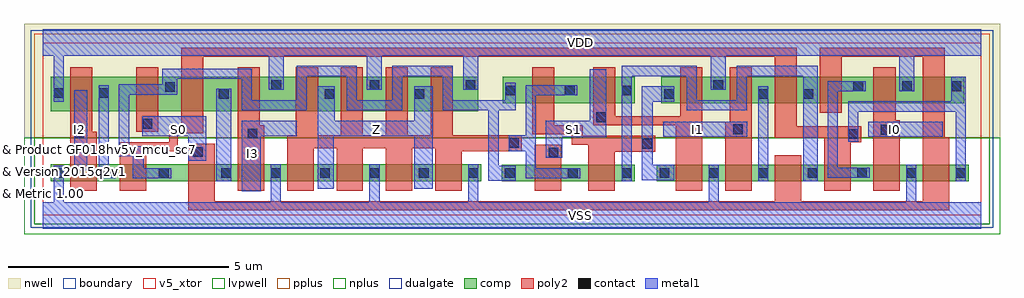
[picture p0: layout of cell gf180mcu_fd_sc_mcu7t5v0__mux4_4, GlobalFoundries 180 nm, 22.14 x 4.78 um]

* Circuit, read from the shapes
.subckt gf180mcu_fd_sc_mcu7t5v0__mux4_4 I0 I1 I2 I3 S0 S1 VDD VSS Z
XM1 n1 I2 VSS VSUBS nfet_05v0 w=0.38u l=0.6u
XM2 n2 n3 n1 VSUBS nfet_05v0 w=0.38u l=0.6u
XM3 n4 S0 n2 VSUBS nfet_05v0 w=0.38u l=0.6u
XM4 VSS I3 n4 VSUBS nfet_05v0 w=0.38u l=0.6u
XM5 Z n5 VSS VSUBS nfet_05v0 w=0.38u l=0.6u m=4
XM6 n5 S1 n2 VSUBS nfet_05v0 w=0.365u l=0.6u
XM7 n6 n7 n5 VSUBS nfet_05v0 w=0.365u l=0.6u
XM8 VSS S1 n7 VSUBS nfet_05v0 w=0.365u l=0.6u
XM9 n8 I1 VSS VSUBS nfet_05v0 w=0.365u l=0.6u
XM10 n6 S0 n8 VSUBS nfet_05v0 w=0.365u l=0.6u
XM11 n9 n3 n6 VSUBS nfet_05v0 w=0.365u l=0.6u
XM12 VSS I0 n9 VSUBS nfet_05v0 w=0.365u l=0.6u
XM13 n3 S0 VSS VSUBS nfet_05v0 w=0.365u l=0.6u
XM14 n1 I2 VDD n10 pfet_05v0 w=0.78u l=0.5u
XM15 n2 S0 n1 n10 pfet_05v0 w=0.78u l=0.5u
XM16 n4 n3 n2 n10 pfet_05v0 w=0.78u l=0.5u
XM17 VDD I3 n4 n10 pfet_05v0 w=0.78u l=0.5u
XM18 Z n5 VDD n10 pfet_05v0 w=0.78u l=0.5u m=4
XM19 n5 n7 n2 n10 pfet_05v0 w=0.595u l=0.5u
XM20 n6 S1 n5 n10 pfet_05v0 w=0.595u l=0.5u
XM21 VDD S1 n7 n10 pfet_05v0 w=0.595u l=0.5u
XM22 n8 I1 VDD n10 pfet_05v0 w=0.595u l=0.5u
XM23 n6 n3 n8 n10 pfet_05v0 w=0.595u l=0.5u
XM24 n9 S0 n6 n10 pfet_05v0 w=0.595u l=0.5u
XM25 VDD I0 n9 n10 pfet_05v0 w=0.595u l=0.5u
XM26 n3 S0 VDD n10 pfet_05v0 w=0.595u l=0.5u
.ends

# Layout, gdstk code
import gdstk
lib = gdstk.Library(unit=1e-6, precision=1e-09)
def R(c, l, rs):  # rectangles x0, y0, x1, y1
    for r in rs: c.add(gdstk.rectangle(r[:2], r[2:], *l))
def A(c, l, x, y, w, h, nx, ny, dx, dy):  # array of equal rectangles
    R(c, l, [(x+i*dx, y+j*dy, x+i*dx+w, y+j*dy+h) for i in range(nx) for j in range(ny)])
def P(c, l, *ps):  # polygons
    for p in ps: c.add(gdstk.Polygon(p, *l))
boundary = (0, 0)
nwell = (21, 0)
comp = (22, 0)
poly2 = (30, 0)
pplus = (31, 0)
nplus = (32, 0)
contact = (33, 0)
metal1 = (34, 0)
dualgate = (55, 0)
v5_xtor = (112, 1)
lvpwell = (204, 0)

gf180mcu_fd_sc_mcu7t5v0_ = lib.new_cell('gf180mcu_fd_sc_mcu7t5v0__mux4_4')
R(gf180mcu_fd_sc_mcu7t5v0_, boundary, [(0,0,21.28,3.92)])
R(gf180mcu_fd_sc_mcu7t5v0_, nwell, [(-0.43,1.76,21.71,4.35)])
R(gf180mcu_fd_sc_mcu7t5v0_, comp, [(0.18,0.78,9.94,1.16), (10.41,0.78,13.42,1.145), (13.92,0.78,21,1.145), (0.18,2.36,9.88,3.14), (10.425,2.545,13.42,3.14), (14.02,2.545,20.9,3.14)])
R(gf180mcu_fd_sc_mcu7t5v0_, poly2, [(11.16,0.56,11.76,1.605), (2.12,1.9,2.62,3.36)])
P(gf180mcu_fd_sc_mcu7t5v0_, poly2, [(0.62,0.56),(0.62,3.36),(1.12,3.36),(1.12,1.9),(1.22,1.9),(1.22,0.56)],
  [(4.42,0.56),(4.42,3.36),(4.92,3.36),(4.92,2.04),(5.02,2.04),(5.02,0.56)],
  [(5.54,0.56),(5.54,1.82),(5.74,1.82),(5.74,3.36),(6.24,3.36),(6.24,1.82),(6.76,1.82),(6.76,3.36),(7.26,3.36),(7.26,1.82),(7.78,1.82),(7.78,3.36),(8.28,3.36),(8.28,1.82),(8.8,1.82),(8.8,3.36),(9.3,3.36),(9.3,1.82),(10.86,1.82),(10.86,1.46),(9.5,1.46),(9.5,0.56),(8.9,0.56),(8.9,1.52),(8.38,1.52),(8.38,0.56),(7.78,0.56),(7.78,1.52),(7.26,1.52),(7.26,0.56),(6.66,0.56),(6.66,1.52),(6.14,1.52),(6.14,0.56)],
  [(12.375,0.56),(12.375,1.605),(12,1.605),(12,1.845),(11.1,1.845),(11.1,3.36),(11.6,3.36),(11.6,2.045),(12.24,2.045),(12.24,1.805),(13.885,1.805),(13.885,1.445),(12.975,1.445),(12.975,0.56)],
  [(14.36,0.56),(14.36,2.045),(12.48,2.045),(12.48,3.36),(12.98,3.36),(12.98,2.245),(14.46,2.245),(14.46,3.36),(14.96,3.36),(14.96,0.56)],
  [(15.48,0.56),(15.48,2.13),(15.58,2.13),(15.58,3.36),(16.08,3.36),(16.08,0.56)],
  [(1.74,0.56),(1.74,1.66),(2.86,1.66),(2.86,2.06),(3.14,2.06),(3.14,3.8),(17.1,3.8),(17.1,2.025),(18.56,2.025),(18.56,1.665),(18.32,1.665),(18.32,0.56),(17.72,0.56),(17.72,1.76),(16.6,1.76),(16.6,3.6),(3.64,3.6),(3.64,1.86),(3.06,1.86),(3.06,1.46),(2.34,1.46),(2.34,0.56)],
  [(18.84,0.56),(18.84,3.36),(19.34,3.36),(19.34,2.155),(19.44,2.155),(19.44,0.56)],
  [(3.3,0.12),(3.3,1.62),(3.9,1.62),(3.9,0.32),(16.6,0.32),(16.6,1.365),(17.2,1.365),(17.2,0.32),(19.96,0.32),(19.96,3.6),(18.12,3.6),(18.12,2.325),(17.62,2.325),(17.62,3.8),(20.46,3.8),(20.46,1.775),(20.56,1.775),(20.56,0.12)])
R(gf180mcu_fd_sc_mcu7t5v0_, pplus, [(-0.2,1.76,21.48,4.12)])
R(gf180mcu_fd_sc_mcu7t5v0_, nplus, [(-0.2,-0.2,21.48,1.76)])
A(gf180mcu_fd_sc_mcu7t5v0_, contact, 4.05, 0.85, 0.22, 0.22, 6, 1, 1.12, 0)
A(gf180mcu_fd_sc_mcu7t5v0_, contact, 13.99, 0.855, 0.22, 0.22, 7, 1, 1.12, 0)
R(gf180mcu_fd_sc_mcu7t5v0_, contact, [(0.25,0.85,0.47,1.07), (1.37,0.85,1.59,1.07), (2.63,0.85,2.85,1.07), (10.48,0.85,10.7,1.07), (11.91,0.85,12.13,1.07), (13.13,0.85,13.35,1.07), (11.47,1.315,11.69,1.535), (3.4,1.33,3.62,1.55), (13.595,1.515,13.815,1.735), (10.57,1.53,10.79,1.75), (18.27,1.735,18.49,1.955), (0.71,1.745,0.93,1.965), (4.645,1.745,4.865,1.965), (19.01,1.835,19.23,2.055), (15.655,1.845,15.875,2.065), (2.26,1.97,2.48,2.19), (12.55,2.115,12.77,2.335), (3.99,2.645,4.21,2.865), (6.39,2.645,6.61,2.865), (8.43,2.645,8.65,2.865), (14.09,2.645,14.31,2.865), (16.23,2.645,16.45,2.865), (17.25,2.645,17.47,2.865), (0.25,2.67,0.47,2.89), (1.27,2.67,1.49,2.89), (10.495,2.725,10.715,2.945), (11.84,2.725,12.06,2.945), (13.13,2.725,13.35,2.945), (2.77,2.8,2.99,3.02), (18.385,2.82,18.605,3.04), (19.49,2.82,19.71,3.04), (20.61,2.82,20.83,3.04), (5.18,2.85,5.4,3.07), (7.41,2.85,7.63,3.07), (9.59,2.85,9.81,3.07), (15.21,2.85,15.43,3.07)])
R(gf180mcu_fd_sc_mcu7t5v0_, metal1, [(3.93,0.78,4.275,2.87), (16.225,0.78,16.455,2.925), (0.705,1.025,1.01,2.835), (14.075,1.78,15.975,2.13), (18.725,1.78,20.415,2.12)])
P(gf180mcu_fd_sc_mcu7t5v0_, metal1, [(1.26,0.845),(1.26,2.95),(1.495,2.95),(1.495,1.075),(1.65,1.075),(1.65,0.845)],
  [(3.3,1.24),(3.3,1.8),(2.255,1.8),(2.255,2.25),(3.7,2.25),(3.7,1.24)],
  [(4.505,0.55),(4.505,2.15),(5.755,2.15),(5.755,1.8),(4.935,1.8),(4.935,0.55)],
  [(6.23,0.6),(6.23,2.925),(6.615,2.925),(6.615,2.15),(8.425,2.15),(8.425,2.925),(8.84,2.925),(8.84,0.6),(8.425,0.6),(8.425,1.8),(6.6,1.8),(6.6,0.6)],
  [(10.105,0.79),(10.105,2.38),(9.07,2.38),(9.07,3.155),(8.15,3.155),(8.15,2.38),(6.89,2.38),(6.89,3.16),(5.985,3.16),(5.985,2.38),(4.505,2.38),(4.505,3.1),(3.05,3.1),(3.05,2.74),(1.955,2.74),(1.955,1.57),(2.29,1.57),(2.29,1.075),(2.91,1.075),(2.91,0.845),(2.04,0.845),(2.04,1.34),(1.725,1.34),(1.725,2.97),(2.71,2.97),(2.71,3.33),(4.735,3.33),(4.735,2.615),(5.755,2.615),(5.755,3.39),(7.12,3.39),(7.12,2.615),(7.92,2.615),(7.92,3.39),(9.3,3.39),(9.3,2.615),(10.49,2.615),(10.49,3.005),(10.72,3.005),(10.72,2.38),(10.335,2.38),(10.335,1.13),(10.72,1.13),(10.72,0.79)],
  [(10.95,0.845),(10.95,1.46),(10.565,1.46),(10.565,1.82),(10.95,1.82),(10.95,2.95),(12.12,2.95),(12.12,2.72),(11.18,2.72),(11.18,1.075),(12.19,1.075),(12.19,0.845)],
  [(11.41,1.305),(11.41,2.15),(12.405,2.15),(12.405,3.32),(12.775,3.32),(12.775,1.77),(11.775,1.77),(11.775,1.305)],
  [(13.585,0.795),(13.585,2.925),(14.315,2.925),(14.315,2.575),(13.835,2.575),(13.835,1.145),(14.315,1.145),(14.315,0.795)],
  [(13.125,0.78),(13.125,3.39),(14.83,3.39),(14.83,2.615),(15.74,2.615),(15.74,3.39),(17.575,3.39),(17.575,0.78),(17.245,0.78),(17.245,3.16),(15.97,3.16),(15.97,2.38),(14.6,2.38),(14.6,3.16),(13.355,3.16),(13.355,0.78)],
  [(17.805,0.85),(17.805,3.045),(18.665,3.045),(18.665,2.815),(18.035,2.815),(18.035,1.08),(18.75,1.08),(18.75,0.85)],
  [(20.705,0.78),(20.705,2.355),(18.495,2.355),(18.495,1.675),(18.265,1.675),(18.265,2.585),(20.6,2.585),(20.6,3.14),(20.935,3.14),(20.935,0.78)],
  [(0,-0.3),(0,0.3),(0.245,0.3),(0.245,1.13),(0.475,1.13),(0.475,0.3),(5.165,0.3),(5.165,1.16),(5.395,1.16),(5.395,0.3),(7.405,0.3),(7.405,1.16),(7.635,1.16),(7.635,0.3),(9.645,0.3),(9.645,1.16),(9.875,1.16),(9.875,0.3),(15.105,0.3),(15.105,1.145),(15.335,1.145),(15.335,0.3),(19.585,0.3),(19.585,1.145),(19.815,1.145),(19.815,0.3),(21.28,0.3),(21.28,-0.3)],
  [(0.245,2.575),(0.245,3.62),(0,3.62),(0,4.22),(21.28,4.22),(21.28,3.62),(19.77,3.62),(19.77,2.815),(19.43,2.815),(19.43,3.62),(15.49,3.62),(15.49,2.845),(15.145,2.845),(15.145,3.62),(9.87,3.62),(9.87,2.845),(9.53,2.845),(9.53,3.62),(7.69,3.62),(7.69,2.845),(7.35,2.845),(7.35,3.62),(5.46,3.62),(5.46,2.845),(5.12,2.845),(5.12,3.62),(0.475,3.62),(0.475,2.575)])
R(gf180mcu_fd_sc_mcu7t5v0_, dualgate, [(-0.28,-0.28,21.56,4.2)])
R(gf180mcu_fd_sc_mcu7t5v0_, v5_xtor, [(0,0,21.28,3.92)])
R(gf180mcu_fd_sc_mcu7t5v0_, lvpwell, [(-0.43,-0.43,21.71,1.76)])
gf180mcu_fd_sc_mcu7t5v0_.add(gdstk.Label('I0', (19.32,1.96), layer=34, texttype=10))
gf180mcu_fd_sc_mcu7t5v0_.add(gdstk.Label('VSS', (12.19,0), layer=34, texttype=10))
gf180mcu_fd_sc_mcu7t5v0_.add(gdstk.Label('VDD', (12.19,3.92), layer=34, texttype=10))
gf180mcu_fd_sc_mcu7t5v0_.add(gdstk.Label('I2', (0.84,1.96), layer=34, texttype=10))
gf180mcu_fd_sc_mcu7t5v0_.add(gdstk.Label('I1', (14.84,1.96), layer=34, texttype=10))
gf180mcu_fd_sc_mcu7t5v0_.add(gdstk.Label('S0', (3.08,1.96), layer=34, texttype=10))
gf180mcu_fd_sc_mcu7t5v0_.add(gdstk.Label('I3', (4.76,1.4), layer=34, texttype=10))
gf180mcu_fd_sc_mcu7t5v0_.add(gdstk.Label('S1', (12.04,1.96), layer=34, texttype=10))
gf180mcu_fd_sc_mcu7t5v0_.add(gdstk.Label('Z', (7.56,1.96), layer=34, texttype=10))
gf180mcu_fd_sc_mcu7t5v0_.add(gdstk.Label('& Vendor GLOBALFOUNDRIES', (0,2), layer=63, texttype=63))
gf180mcu_fd_sc_mcu7t5v0_.add(gdstk.Label('& Product GF018hv5v_mcu_sc7', (0,1.5), layer=63, texttype=63))
gf180mcu_fd_sc_mcu7t5v0_.add(gdstk.Label('& Version 2015q2v1', (0,1), layer=63, texttype=63))
gf180mcu_fd_sc_mcu7t5v0_.add(gdstk.Label('& Metric 1.00', (0,0.5), layer=63, texttype=63))

lib.write_gds('gf180mcu_fd_sc_mcu7t5v0__mux4_4.gds')
